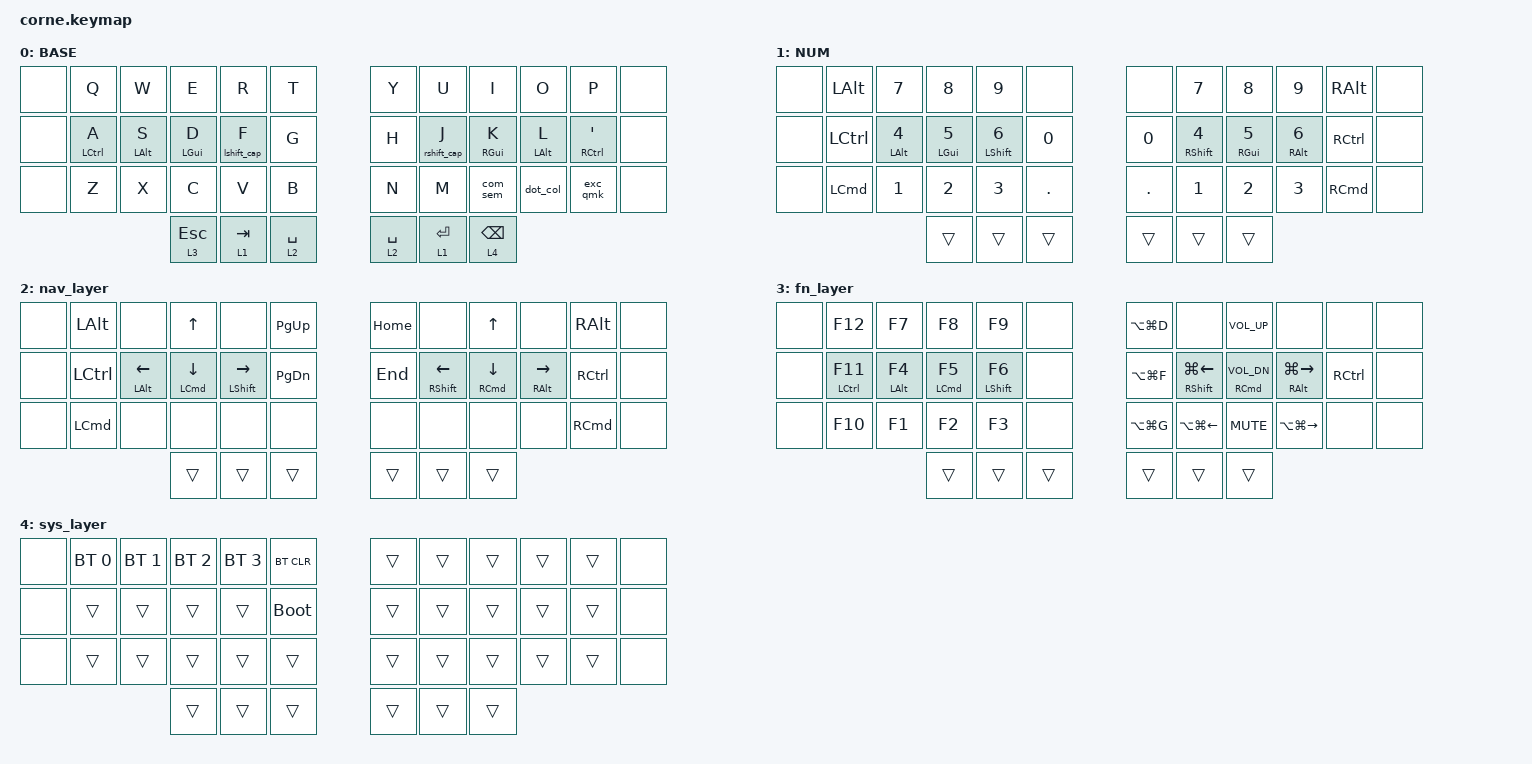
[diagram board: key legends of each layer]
/*
 * Copyright (c) 2020 The ZMK Contributors
 *
 * SPDX-License-Identifier: MIT
 */

#include <behaviors.dtsi>
#include <dt-bindings/zmk/bt.h>
#include <dt-bindings/zmk/keys.h>
#include <behaviors/num_word.dtsi>

/* Global defaults */

#define REQUIRE_PRIOR_IDLE_MS 150
#define QUICK_TAP_MS 75

/ {
    behaviors {
        hml: hml {
            compatible = "zmk,behavior-hold-tap";
            label = "HML";
            bindings = <&kp>, <&kp>;

            #binding-cells = <2>;
            tapping-term-ms = <280>;
            quick-tap-ms = <QUICK_TAP_MS>;
            require-prior-idle-ms = <REQUIRE_PRIOR_IDLE_MS>;
            flavor = "balanced";
            hold-trigger-on-release;
            hold-trigger-key-positions = <6 7 8 9 10 18 19 20 21 22 30 31 32 33 34>;
            require-prior-idle-ms = <50>;
        };

        hmr: hmr {
            compatible = "zmk,behavior-hold-tap";
            label = "HMR";
            bindings = <&kp>, <&kp>;

            #binding-cells = <2>;
            tapping-term-ms = <280>;
            quick-tap-ms = <QUICK_TAP_MS>;
            require-prior-idle-ms = <REQUIRE_PRIOR_IDLE_MS>;
            flavor = "balanced";
            hold-trigger-on-release;
            hold-trigger-key-positions = <1 2 3 4 5 13 14 15 16 17 25 26 27 28 29>;
            require-prior-idle-ms = <50>;
        };

        copy_cut: copy_cut {
            compatible = "zmk,behavior-tap-dance";
            label = "COPY_CUT";
            #binding-cells = <0>;
            bindings = <&kp LC(C)>, <&kp LC(X)>;
        };

        lshift_cap: lshift_cap {
            compatible = "zmk,behavior-tap-dance";
            label = "LSHIFT_CAP";
            #binding-cells = <0>;
            bindings = <&kp LSHIFT>, <&caps_word>;
        };

        behaviors {
            nav_word: nav_word {
            compatible = "zmk,behavior-auto-layer";
            #binding-cells = <1>;
            continue-list = <LEFT DOWN UP RIGHT PG_DN PG_UP>;
            ignore-modifiers;
            };
        };

        com_sem: com_sem {
            compatible = "zmk,behavior-mod-morph";
            label = "COM_SEM";
            bindings = <&kp COMMA>, <&kp SEMICOLON>;

            #binding-cells = <0>;
            mods = <(MOD_LSFT|MOD_RSFT)>;
        };

        dot_col: dot_col {
            compatible = "zmk,behavior-mod-morph";
            label = "DOT_COL";
            bindings = <&kp PERIOD>, <&kp COLON>;

            #binding-cells = <0>;
            mods = <(MOD_LSFT|MOD_RSFT)>;
        };

        exc_qmk: exc_qmk {
            compatible = "zmk,behavior-mod-morph";
            label = "EXC_QMK";
            bindings = <&kp EXCL>, <&kp QMARK>;

            #binding-cells = <0>;
            mods = <(MOD_LSFT|MOD_RSFT)>;
        };

        bac_del: bac_del {
            compatible = "zmk,behavior-mod-morph";
            label = "BAC_DEL";
            bindings = <&kp BACKSPACE>, <&kp DEL>;

            #binding-cells = <0>;
            mods = <(MOD_LSFT|MOD_RSFT)>;
            keep-mods = <(MOD_RSFT)>;
        };

        rshift_cap: rshift_cap {
            compatible = "zmk,behavior-tap-dance";
            label = "RSHIFT_CAP";
            #binding-cells = <0>;
            bindings = <&kp RIGHT_SHIFT>, <&caps_word>;
        };

        ltm: ltm {
            compatible = "zmk,behavior-hold-tap";
            label = "LTM";
            bindings = <&mo>, <&kp>;

            #binding-cells = <2>;
            tapping-term-ms = <280>;
            quick-tap-ms = <QUICK_TAP_MS>;
            flavor = "balanced";
            hold-trigger-on-release;
            require-prior-idle-ms = <50>;
        };

        hmsl: hmsl {
            compatible = "zmk,behavior-hold-tap";
            label = "HMSL";
            bindings = <&lshift_cap>, <&kp>;

            #binding-cells = <2>;
            tapping-term-ms = <280>;
            quick-tap-ms = <QUICK_TAP_MS>;
            flavor = "balanced";
            hold-trigger-on-release;
            hold-trigger-key-positions = <6 7 8 9 10 18 19 20 21 22 30 31 32 33 34>;
            require-prior-idle-ms = <50>;
        };

        hmsr: hmsr {
            compatible = "zmk,behavior-hold-tap";
            label = "HMSR";
            bindings = <&rshift_cap>, <&kp>;

            #binding-cells = <2>;
            tapping-term-ms = <280>;
            quick-tap-ms = <QUICK_TAP_MS>;
            flavor = "balanced";
            hold-trigger-on-release;
            hold-trigger-key-positions = <1 2 3 4 5 13 14 15 16 17 25 26 27 28 29>;
            require-prior-idle-ms = <50>;
        };

        lpar_less: lpar_less {
            compatible = "zmk,behavior-mod-morph";
            label = "LPAR_LESS";
            bindings = <&kp LEFT_PARENTHESIS>, <&kp LESS_THAN>;

            #binding-cells = <0>;
            mods = <(MOD_LSFT|MOD_RSFT)>;
        };

        rpar_greater: rpar_greater {
            compatible = "zmk,behavior-mod-morph";
            label = "RPAR_GREATER";
            bindings = <&kp RIGHT_PARENTHESIS>, <&kp GREATER_THAN>;

            #binding-cells = <0>;
            mods = <(MOD_LSFT|MOD_RSFT)>;
        };

        slash_bslash: slash_bslash {
            compatible = "zmk,behavior-mod-morph";
            label = "SLASH_BSLASH";
            bindings = <&kp SLASH>, <&kp BACKSLASH>;

            #binding-cells = <0>;
            mods = <(MOD_LSFT|MOD_RSFT)>;
        };
    };

    combos {
        compatible = "zmk,combos";

        ESC_COMBO {
            bindings = <&gresc>;
            key-positions = <1 2>;
        };

        BCSP_COMBO {
            bindings = <&kp BACKSPACE>;
            key-positions = <9 10>;
        };

        FIND_COMBOS {
            bindings = <&kp LC(F)>;
            key-positions = <25 16>;
        };

        SAVE_COMBOS {
            bindings = <&kp LC(S)>;
            key-positions = <24 13>;
        };

        win_copy {
            bindings = <&copy_cut>;
            key-positions = <25 27>;
        };

        SELECT_ALL_COMBOS {
            bindings = <&kp LC(A)>;
            key-positions = <25 13>;
        };

        PASTE_COMBOS {
            bindings = <&kp LC(SLASH)>;
            key-positions = <25 28>;
        };

        wm_12 {
            bindings = <&kp LA(LG(E))>;
            key-positions = <6 18>;
            layers = <3>;
        };

        wm_23 {
            bindings = <&kp LA(LG(T))>;
            key-positions = <18 30>;
            layers = <3>;
        };

        left_par {
            bindings = <&lpar_less>;
            key-positions = <19 20>;
        };

        r_par {
            bindings = <&rpar_greater>;
            key-positions = <20 21>;
        };

        l_br {
            bindings = <&kp LEFT_BRACKET>;
            key-positions = <31 32>;
        };

        r_br {
            bindings = <&kp RIGHT_BRACKET>;
            key-positions = <32 33>;
        };

        plus {
            bindings = <&kp KP_PLUS>;
            key-positions = <7 19>;
        };

        minus {
            bindings = <&kp MINUS>;
            key-positions = <19 31>;
        };

        star {
            bindings = <&kp STAR>;
            key-positions = <8 20>;
        };

        spl {
            bindings = <&slash_bslash>;
            key-positions = <20 32>;
        };

        and {
            bindings = <&kp AMPERSAND>;
            key-positions = <9 21>;
        };

        or {
            bindings = <&kp PIPE>;
            key-positions = <22 34>;
        };

        equ {
            bindings = <&kp EQUAL>;
            key-positions = <6 18>;
            layers = <0 1>;
        };

        under_sc {
            bindings = <&kp UNDER>;
            key-positions = <18 30>;
        };

        grave_combos {
            bindings = <&kp GRAVE>;
            key-positions = <16 28>;
        };

        at_combos {
            bindings = <&kp AT_SIGN>;
            key-positions = <2 14>;
        };

        hash_combos {
            bindings = <&kp HASH>;
            key-positions = <3 15>;
        };

        dollor_combos {
            bindings = <&kp DOLLAR>;
            key-positions = <4 16>;
        };

        percent_combos {
            bindings = <&kp PERCENT>;
            key-positions = <14 26>;
        };

        hat_combos {
            bindings = <&kp CARET>;
            key-positions = <15 27>;
        };
    };

    macros {
        mac_save: mac_save {
            compatible = "zmk,behavior-macro";
            #binding-cells = <0>;
            bindings = <&none>, <&macro_press>;

            label = "MAC_SAVE";
        };
    };

    keymap {
        compatible = "zmk,keymap";

        base_layer {
            // ┏━━━━━━━━━━━━━━━━━━━━━━━━━━━━━━━━━━━━━━━┓

            label = "BASE";

            // ┗━━━━━━━━━━━━━━━━━━━━━━━━━━━━━━━━━━━━━━━┛
            // -------------------------------------------------------------------------------
            // |      |  Q  |  W  |  E  |  R  |  T  |   |  Y  |  U   |  I  |  O  |  P  |      |
            // |      |  A  |  S  |  D  |  F  |  G  |   |  H  |  J   |  K  |  L  |  ;  |      |
            // |      |  Z  |  X  |  C  |  V  |  B  |   |  N  |  M   |  ,  |  .  |  /  |      |
            //                    | ESC | TAB | SPC |   | ENT | BSPC | DEL |

            bindings = <
&none  &kp Q         &kp W        &kp E          &kp R       &kp T           &kp Y         &kp U         &kp I             &kp O        &kp P           &none
&none  &hml LCTRL A  &hml LALT S  &hml LGUI D    &hmsl 0 F   &kp G           &kp H         &hmsr 0 J     &hmr RGUI K       &hmr LALT L  &hmr RCTRL SQT  &none
&none  &kp Z         &kp X        &kp C          &kp V       &kp B           &kp N         &kp M         &com_sem          &dot_col     &exc_qmk        &none
                                  &ltm 3 ESCAPE  &ltm 1 TAB  &ltm 2 SPACE    &ltm 2 SPACE  &ltm 1 ENTER  &ltm 4 BACKSPACE
            >;
        };

        num_layer {
            bindings = <
&none  &kp LALT          &kp N7              &kp N8        &kp N9         &none         &none       &kp N7         &kp N8             &kp N9        &kp RALT           &none
&none  &kp LEFT_CONTROL  &hml LALT NUMBER_4  &hml LGUI N5  &hml LSHFT N6  &kp N0        &kp N0      &hmr RSHFT N4  &hmr RIGHT_GUI N5  &hmr RALT N6  &kp RIGHT_CONTROL  &none
&none  &kp LCMD          &kp N1              &kp N2        &kp N3         &kp PERIOD    &kp PERIOD  &kp N1         &kp NUMBER_2       &kp N3        &kp RCMD           &none
                                             &trans        &trans         &trans        &trans      &trans         &trans
            >;

            label = "NUM";
        };

        nav_layer {
            bindings = <
&none  &kp LALT          &none           &kp UP_ARROW    &none             &kp PG_UP    &kp HOME  &none            &kp UP_ARROW          &none            &kp RIGHT_ALT  &none
&none  &kp LEFT_CONTROL  &hml LALT LEFT  &hml LCMD DOWN  &hml LSHFT RIGHT  &kp PG_DN    &kp END   &hmr RSHFT LEFT  &hmr RCMD DOWN_ARROW  &hmr RALT RIGHT  &kp RCTRL      &none
&none  &kp LCMD          &none           &none           &none             &none        &none     &none            &none                 &none            &kp RCMD       &none
                                         &trans          &trans            &trans       &trans    &trans           &trans
            >;
        };

        fn_layer {
            bindings = <
&none  &kp F12                &kp F7        &kp F8        &kp F9         &none     &kp LA(LG(D))  &none                   &kp C_VOLUME_UP     &none                &none      &none
&none  &hml LEFT_CONTROL F11  &hml LALT F4  &hml LCMD F5  &hml LSHFT F6  &none     &kp LA(LG(F))  &hmr RSHFT LG(LEFT)     &hmr RCMD C_VOL_DN  &hmr RALT LG(RIGHT)  &kp RCTRL  &none
&none  &kp F10                &kp F1        &kp F2        &kp F3         &none     &kp LA(LG(G))  &kp LA(LG(LEFT_ARROW))  &kp C_MUTE          &kp LA(LG(RIGHT))    &none      &none
                                            &trans        &trans         &trans    &trans         &trans                  &trans
            >;
        };

        sys_layer {
            bindings = <
&none  &bt BT_SEL 0  &bt BT_SEL 1  &bt BT_SEL 2  &bt BT_SEL 3  &bt BT_CLR     &trans  &trans  &trans  &trans  &trans  &none
&none  &trans        &trans        &trans        &trans        &bootloader    &trans  &trans  &trans  &trans  &trans  &none
&none  &trans        &trans        &trans        &trans        &trans         &trans  &trans  &trans  &trans  &trans  &none
                                   &trans        &trans        &trans         &trans  &trans  &trans
            >;
        };
    };
};
